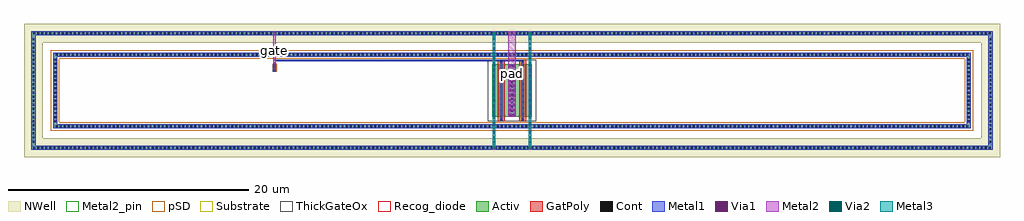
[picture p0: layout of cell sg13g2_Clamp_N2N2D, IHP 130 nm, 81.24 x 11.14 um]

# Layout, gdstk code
import gdstk
lib = gdstk.Library(unit=1e-6, precision=1e-09)
def R(c, l, rs):  # rectangles x0, y0, x1, y1
    for r in rs: c.add(gdstk.rectangle(r[:2], r[2:], *l))
def A(c, l, x, y, w, h, nx, ny, dx, dy):  # array of equal rectangles
    R(c, l, [(x+i*dx, y+j*dy, x+i*dx+w, y+j*dy+h) for i in range(nx) for j in range(ny)])
def P(c, l, *ps):  # polygons
    for p in ps: c.add(gdstk.Polygon(p, *l))
Activ = (1, 0)
GatPoly = (5, 0)
Cont = (6, 0)
Metal1 = (8, 0)
Metal2 = (10, 0)
Metal2_pin = (10, 2)
pSD = (14, 0)
Via1 = (19, 0)
Via2 = (29, 0)
Metal3 = (30, 0)
NWell = (31, 0)
Substrate = (40, 0)
ThickGateOx = (44, 0)
Recog_diode = (99, 31)

sg13g2_guardring_n16000w = lib.new_cell('sg13g2_GuardRing_N16000W1980HFF')
P(sg13g2_guardring_n16000w, Activ, [(-40,-4.95),(-40,4.61),(-39.66,4.61),(-39.66,-4.61),(39.66,-4.61),(39.66,4.61),(-40,4.61),(-40,4.95),(40,4.95),(40,-4.95)])
A(sg13g2_guardring_n16000w, Cont, -39.86, -4.86, 0.16, 0.16, 235, 2, 0.34, 9.56)
A(sg13g2_guardring_n16000w, Cont, -39.91, -4.33, 0.16, 0.16, 1, 26, 0, 0.34)
A(sg13g2_guardring_n16000w, Cont, 39.75, -4.33, 0.16, 0.16, 1, 26, 0, 0.34)
P(sg13g2_guardring_n16000w, Metal1, [(-40,-4.95),(-40,4.61),(-39.66,4.61),(-39.66,-4.61),(39.66,-4.61),(39.66,4.61),(-40,4.61),(-40,4.95),(40,4.95),(40,-4.95)])
P(sg13g2_guardring_n16000w, NWell, [(-40.62,-5.57),(-40.62,3.99),(-39.04,3.99),(-39.04,-3.99),(39.04,-3.99),(39.04,3.99),(-40.62,3.99),(-40.62,5.57),(40.62,5.57),(40.62,-5.57)])

sg13g2_guardring_p15280w = lib.new_cell('sg13g2_GuardRing_P15280W1260HFF')
P(sg13g2_guardring_p15280w, Activ, [(-38.2,-3.15),(-38.2,2.81),(-37.86,2.81),(-37.86,-2.81),(37.86,-2.81),(37.86,2.81),(-38.2,2.81),(-38.2,3.15),(38.2,3.15),(38.2,-3.15)])
A(sg13g2_guardring_p15280w, Cont, -37.99, -3.06, 0.16, 0.16, 224, 2, 0.34, 5.96)
A(sg13g2_guardring_p15280w, Cont, -38.11, -2.63, 0.16, 0.16, 1, 16, 0, 0.34)
A(sg13g2_guardring_p15280w, Cont, 37.95, -2.63, 0.16, 0.16, 1, 16, 0, 0.34)
P(sg13g2_guardring_p15280w, Metal1, [(-38.2,-3.15),(-38.2,2.81),(-37.86,2.81),(-37.86,-2.81),(37.86,-2.81),(37.86,2.81),(-38.2,2.81),(-38.2,3.15),(38.2,3.15),(38.2,-3.15)])
P(sg13g2_guardring_p15280w, pSD, [(-38.38,-3.33),(-38.38,2.63),(-37.68,2.63),(-37.68,-2.63),(37.68,-2.63),(37.68,2.63),(-38.38,2.63),(-38.38,3.33),(38.38,3.33),(38.38,-3.33)])
P(sg13g2_guardring_p15280w, Substrate, [(-38.2,-3.15),(-38.2,2.81),(-37.86,2.81),(-37.86,-2.81),(37.86,-2.81),(37.86,2.81),(-38.2,2.81),(-38.2,3.15),(38.2,3.15),(38.2,-3.15)])
sg13g2_guardring_p15280w.add(gdstk.Label('sub!', (-38.03,-2.98), layer=63, texttype=0))

sg13g2_clamp_n2n2d = lib.new_cell('sg13g2_Clamp_N2N2D')
R(sg13g2_clamp_n2n2d, Activ, [(38.34,2.75,41.66,7.15), (20.09,6.51,20.39,7.15)])
R(sg13g2_clamp_n2n2d, GatPoly, [(38.81,2.38,39.41,7.52), (40.59,2.38,41.19,7.52)])
A(sg13g2_clamp_n2n2d, Cont, 38.41, 2.83, 0.16, 0.16, 3, 13, 1.51, 0.34)
R(sg13g2_clamp_n2n2d, Cont, [(39.03,2.45,39.19,2.61), (40.81,2.45,40.97,2.61), (20.16,6.58,20.32,6.74), (20.16,6.92,20.32,7.08), (39.03,7.29,39.19,7.45), (40.81,7.29,40.97,7.45)])
R(sg13g2_clamp_n2n2d, Metal1, [(38.385,1.8,38.595,2.14), (41.405,1.8,41.615,2.14), (38.385,2.75,38.595,7.15), (39.69,2.75,40.31,7.15), (41.405,2.75,41.615,7.15), (38.385,7.76,38.595,8.1), (41.405,7.76,41.615,8.1)])
P(sg13g2_clamp_n2n2d, Metal1, [(39.03,2.37),(39.03,7.37),(20.345,7.37),(20.345,6.5),(20.135,6.5),(20.135,7.53),(40.97,7.53),(40.97,2.37),(40.81,2.37),(40.81,7.37),(39.19,7.37),(39.19,2.37)])
R(sg13g2_clamp_n2n2d, Metal2, [(38.39,0,38.59,9.9), (41.41,0,41.61,9.9), (39.695,2.755,40.305,9.9), (20.14,6.665,20.34,9.9)])
R(sg13g2_clamp_n2n2d, Metal2_pin, [(39.695,2.755,40.305,9.9), (20.14,6.665,20.34,9.9)])
A(sg13g2_clamp_n2n2d, Via1, 38.395, 2.805, 0.19, 0.19, 1, 11, 0, 0.41)
A(sg13g2_clamp_n2n2d, Via1, 39.7, 2.805, 0.19, 0.19, 1, 11, 0, 0.41)
A(sg13g2_clamp_n2n2d, Via1, 40.11, 2.805, 0.19, 0.19, 1, 11, 0, 0.41)
A(sg13g2_clamp_n2n2d, Via1, 41.415, 2.805, 0.19, 0.19, 1, 11, 0, 0.41)
R(sg13g2_clamp_n2n2d, Via1, [(38.395,1.875,38.585,2.065), (41.415,1.875,41.605,2.065), (20.145,6.715,20.335,6.905), (20.145,7.125,20.335,7.315), (38.395,7.835,38.585,8.025), (41.415,7.835,41.605,8.025)])
A(sg13g2_clamp_n2n2d, Via2, 38.395, 0.14, 0.19, 0.19, 1, 24, 0, 0.41)
A(sg13g2_clamp_n2n2d, Via2, 41.415, 0.14, 0.19, 0.19, 1, 24, 0, 0.41)
R(sg13g2_clamp_n2n2d, Metal3, [(38.39,0.09,38.59,9.81), (41.41,0.09,41.61,9.81)])
R(sg13g2_clamp_n2n2d, ThickGateOx, [(38,2.41,42,7.49)])
R(sg13g2_clamp_n2n2d, Recog_diode, [(20.07,6.49,20.41,7.17)])
sg13g2_clamp_n2n2d.add(gdstk.Reference(sg13g2_guardring_n16000w, (40,4.95)))
sg13g2_clamp_n2n2d.add(gdstk.Reference(sg13g2_guardring_p15280w, (40,4.95)))
sg13g2_clamp_n2n2d.add(gdstk.Label('pad', (40,6.328), layer=10, texttype=25))
sg13g2_clamp_n2n2d.add(gdstk.Label('gate', (20.24,8.282), layer=10, texttype=25))

lib.write_gds('sg13g2_Clamp_N2N2D.gds')
